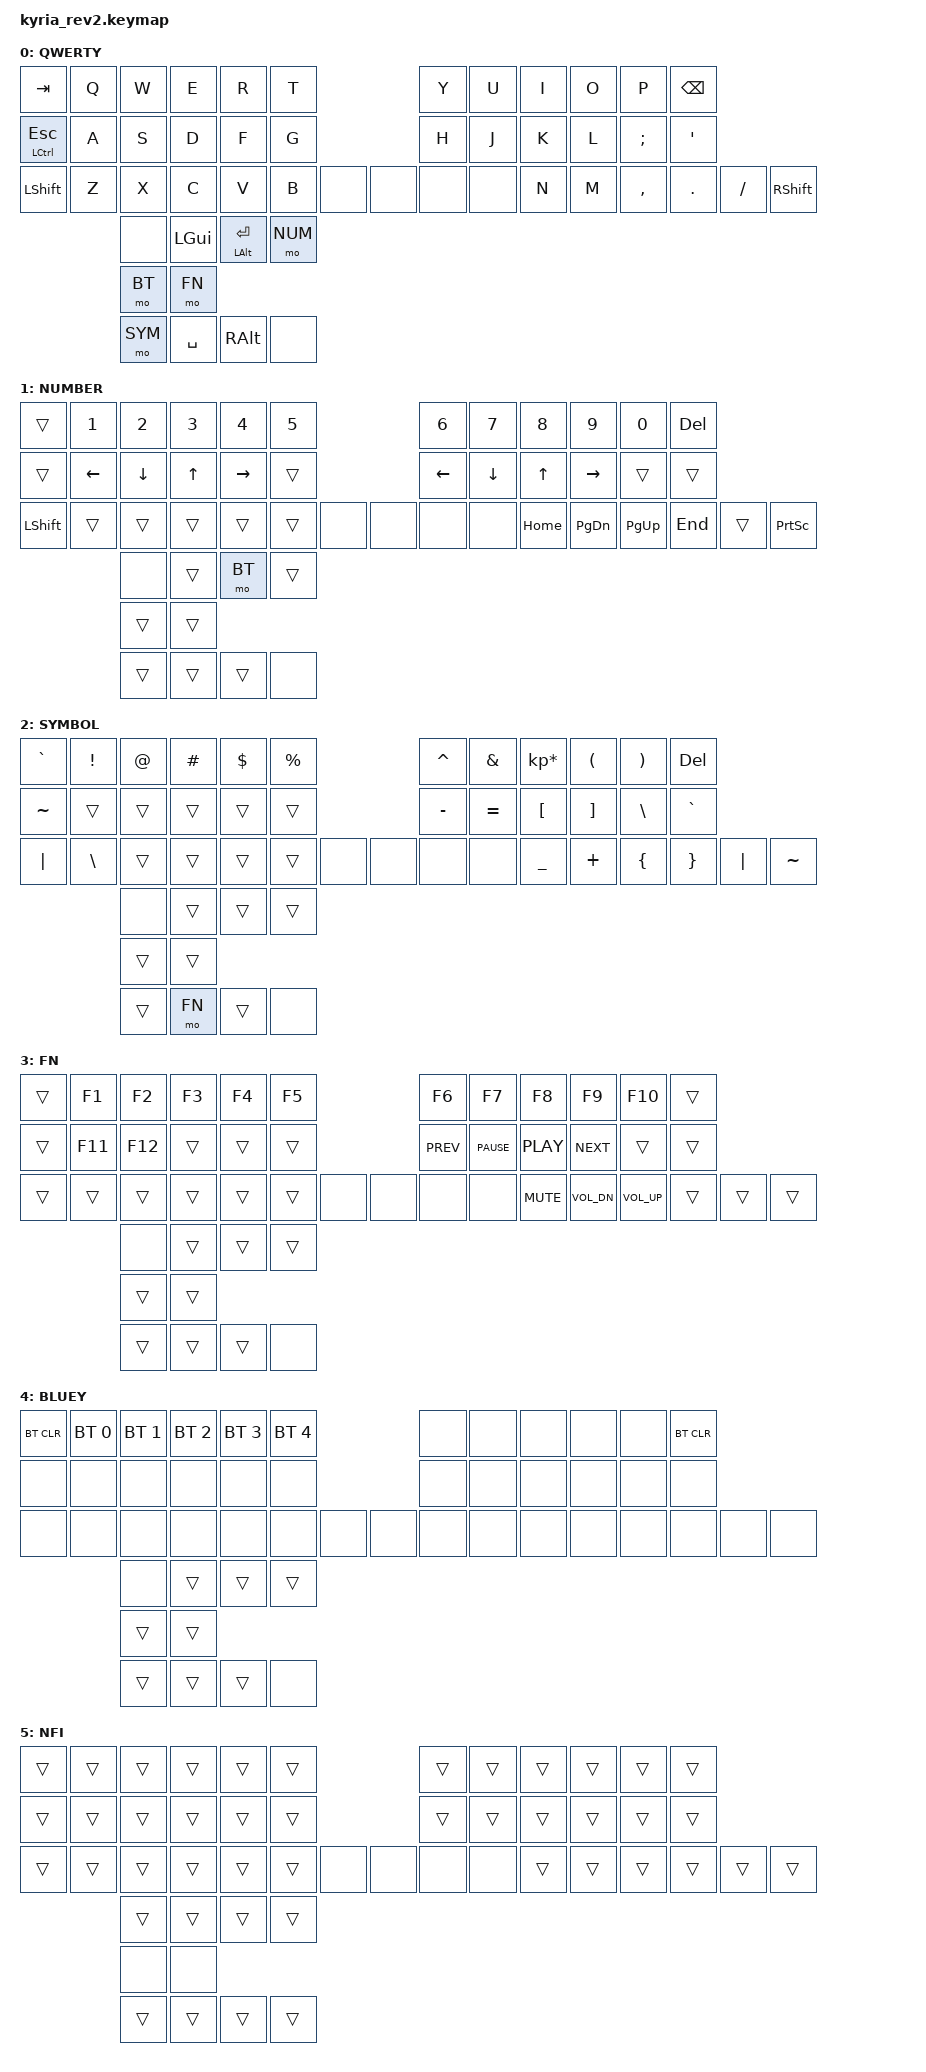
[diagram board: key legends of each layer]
#include <behaviors.dtsi>
#include <dt-bindings/zmk/keys.h>
#include <dt-bindings/zmk/bt.h>

#define QWERTY  0
#define NUM     1
#define SYM     2
#define FN      3
#define BT      4

/ {
  chosen {
    zmk,matrix_transform = &default_transform;
    //zmk,matrix_transform = &five_column_transform;
  };
};

/ {
        keymap {
                compatible = "zmk,keymap";

                default_layer {
                        label = "QWERTY";
// -----------------------------------------------------------------------------------------
// |  TAB |  Q  |  W  |  E  |  R  |  T  |   |  Y  |  U   |  I  |  O  |  P  | BKSP |
// | CTRL |  A  |  S  |  D  |  F  |  G  |   |  H  |  J   |  K  |  L  |  ;  |  '   |
// | SHFT |  Z  |  X  |  C  |  V  |  B  |   |  N  |  M   |  ,  |  .  |  /  | SHFT |
//                    | GUI | ENT | NUM |   | SYM | SPC  | ALT |
//                                  | BT | | FN | <nyan only

                        bindings = <
   &kp TAB   &kp Q &kp W &kp E &kp R &kp T   &kp Y &kp U  &kp I     &kp O   &kp P    &kp BSPC
   &mt LCTRL ESC &kp A &kp S &kp D &kp F &kp G   &kp H &kp J  &kp K     &kp L   &kp SEMI &kp SQT
   &kp LSHFT &kp Z &kp X &kp C &kp V &kp B   &none  &none  &none  &none &kp N &kp M  &kp COMMA &kp DOT &kp FSLH &kp RSHFT
                   &none &kp LGUI &mt LALT RET &mo NUM  
                   &mo BT &mo FN
                  &mo SYM  &kp SPACE    &kp RALT &none 
                        >;
                };
                lower_layer {
                        label = "NUMBER";
// -----------------------------------------------------------------------------------------
// |      |  1  |  2  |  3  |  4  |  5  |   |  6  |  7  |  8  |  9  |  0  | DEL  |
// |      | LFT | DWN |  UP | RGT |     |   | LFT | DWN |  UP | RGT |     |      |
// | SHFT |     |     |     |     |     |   | HOME| PGD | PGU | END |     | PRTS |
//                    | GUI | BT  | NUM |   | SYM | SPC | ALT |
//                                  | BT | | FN | <nyan only


                        bindings = <
   &trans     &kp N1       &kp N2       &kp N3     &kp N4       &kp N5      &kp N6   &kp N7    &kp N8    &kp N9    &kp N0 &kp DEL
   &trans     &kp LEFT     &kp DOWN     &kp UP     &kp RIGHT    &trans      &kp LEFT &kp DOWN  &kp UP    &kp RIGHT &trans &trans
   &kp LSHFT  &trans       &trans       &trans     &trans       &trans  &none  &none  &none  &none    &kp HOME &kp PG_DN &kp PG_UP &kp END   &trans &kp PSCRN
                       &none &trans &mo BT &trans 
                       &trans   &trans
                      &trans &trans &trans &none 
                        >;
                };

                raise_layer {
                        label = "SYMBOL";
// -----------------------------------------------------------------------------------------
// | GRVE |  !  |  @  |  #  |  $  |  %  |   |  ^  |  &  |  *  |  (  |  )  | DEL  |
// | TILD |     |     |     |     |     |   |  -  |  =  |  [  |  ]  |  \  |  `   |
// | PIPE | BSLH|     |     |     |     |   |  _  |  +  |  {  |  }  | "|" |  ~   |
//                    | GUI | ENT | NUM |   | SYM | FN  | ALT |
//                                  | BT | | FN | <nyan only

                        bindings = <
   &kp GRAVE &kp EXCL &kp AT &kp HASH &kp DLLR &kp PRCNT   &kp CARET &kp AMPS  &kp KP_MULTIPLY &kp LPAR &kp RPAR &kp DEL
   &kp TILDE &trans   &trans &trans   &trans   &trans      &kp MINUS &kp EQUAL &kp LBKT        &kp RBKT &kp BSLH &kp GRAVE
   &kp PIPE  &kp BSLH &trans &trans   &trans   &trans    &none  &none  &none  &none  &kp UNDER &kp PLUS  &kp LBRC        &kp RBRC &kp PIPE &kp TILDE
                       &none &trans &trans &trans 
                       &trans &trans
                      &trans &mo FN &trans &none 
                        >;
                };

                fn_layer {
                        label = "FN";
// -----------------------------------------------------------------------------------------
// |   | F1  | F2  | F3  | F4  | F5  |   | F6  | F7  | F8  | F9  | F10 |    |
// |   | F11 | F12 |     |     |     |   |     |     |     |     |     |    |
// |   |     |     |     |     |     |   |     |     |     |     |     |    |
//                 | GUI | ENT | NUM |   | SYM | FN  | ALT |
//                                  | BT | | FN | <nyan only

                        bindings = <
   &trans     &kp F1     &kp F2     &kp F3     &kp F4   &kp F5     &kp F6     &kp F7       &kp F8       &kp F9     &kp F10  &trans
   &trans     &kp F11    &kp F12    &trans     &trans   &trans     &kp C_PREV &kp C_PAUSE  &kp C_PLAY   &kp C_NEXT &trans   &trans
   &trans     &trans     &trans     &trans     &trans   &trans   &none  &none  &none  &none  &kp C_MUTE &kp C_VOL_DN &kp C_VOL_UP &trans     &trans   &trans
                    &none &trans &trans &trans &trans   &trans &trans &trans &trans  &none

                        >;
                };
                
                bt_layer {
                        label = "BLUEY";
// -----------------------------------------------------------------------------------------
// |BT CLR| BT1 | BT2 | BT3 | BT4 | BT5 |   |     |     |     |     |     |BT CLR|
// |      |     |     |     |     |     |   |     |     |     |     |     |      |
// |BT CLR|     |     |     |     |     |   |     |     |     |     |     |      |
//                                  | BT | | FN | <nyan only

                        bindings = <
   &bt BT_CLR &bt BT_SEL 0 &bt BT_SEL 1 &bt BT_SEL 2 &bt BT_SEL 3 &bt BT_SEL 4   &none  &none  &none  &none  &none  &bt BT_CLR
   &none      &none        &none        &none        &none        &none          &none  &none  &none  &none  &none  &none 
   &none      &none        &none        &none        &none        &none     &none  &none  &none  &none     &none  &none  &none  &none  &none  &none 
                     &none &trans &trans &trans &trans   &trans &trans &trans &trans  &none
                        >;
                };


                empty_layer {
                        label = "NFI";
// -----------------------------------------------------------------------------------------
// |   |     |     |     |     |     |   |     |     |     |     |     |    |
// |   |     |     |     |     |     |   |     |     |     |     |     |    |
// |   |     |     |     |     |     |   |     |     |     |     |     |    |
//                 | GUI | ENT | NUM |   | SYM | FN  | ALT |
//                                  | BT | | FN | <nyan only

                        bindings = <
   &trans     &trans     &trans     &trans     &trans   &trans     &trans     &trans     &trans     &trans   &trans   &trans
   &trans     &trans     &trans     &trans     &trans   &trans     &trans     &trans     &trans     &trans   &trans   &trans
   &trans     &trans     &trans     &trans     &trans   &trans   &none  &none  &none  &none  &trans     &trans     &trans     &trans   &trans   &trans 
                      &trans &trans &trans 
                       &trans &none  &none &trans
                      &trans &trans &trans
                        >;
                };
        };
};
